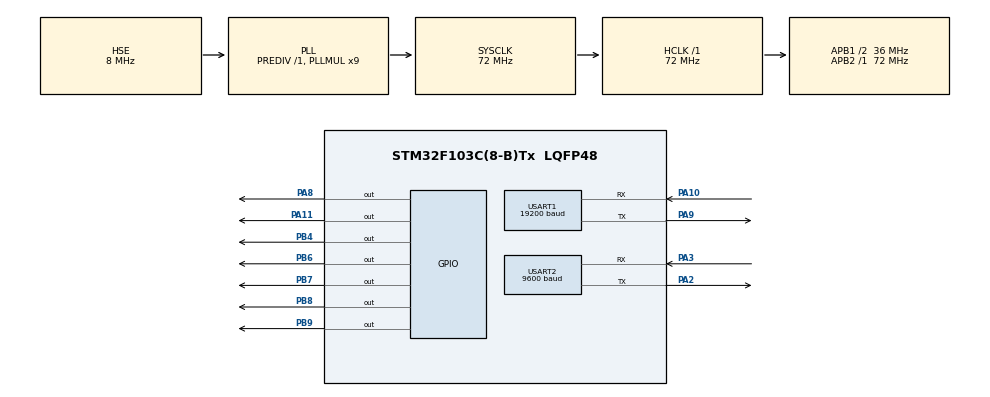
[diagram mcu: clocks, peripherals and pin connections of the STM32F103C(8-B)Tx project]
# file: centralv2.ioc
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Mcu.Family=STM32F1
Mcu.Name=STM32F103C(8-B)Tx
Mcu.Package=LQFP48
NVIC.PriorityGroup=NVIC_PRIORITYGROUP_4
NVIC.TIM3_IRQn=true\:0\:0\:false\:false\:true\:true\:true
NVIC.TIM4_IRQn=true\:0\:0\:false\:false\:true\:true\:true
NVIC.USART1_IRQn=true\:0\:0\:false\:false\:true\:true\:true
NVIC.USART2_IRQn=true\:0\:0\:false\:false\:true\:true\:true
PA10.Mode=Asynchronous
PA10.Signal=USART1_RX
PA11.GPIO_PuPd=GPIO_NOPULL
PA11.Signal=GPIO_Output
PA13.Mode=Serial_Wire
PA13.Signal=SYS_JTMS-SWDIO
PA14.Mode=Serial_Wire
PA14.Signal=SYS_JTCK-SWCLK
PA2.Mode=Asynchronous
PA2.Signal=USART2_TX
PA3.Mode=Asynchronous
PA3.Signal=USART2_RX
PA8.GPIO_PuPd=GPIO_NOPULL
PA8.GPIO_Speed=GPIO_SPEED_FREQ_MEDIUM
PA8.Signal=GPIO_Output
PA9.Mode=Asynchronous
PA9.Signal=USART1_TX
PB4.Signal=GPIO_Output
PB6.GPIO_PuPd=GPIO_PULLDOWN
PB6.GPIO_Speed=GPIO_SPEED_FREQ_LOW
PB6.PinState=GPIO_PIN_RESET
PB6.Signal=GPIO_Output
PB7.PinState=GPIO_PIN_SET
PB7.Signal=GPIO_Output
PB8.PinState=GPIO_PIN_SET
PB8.Signal=GPIO_Output
PB9.PinState=GPIO_PIN_SET
PB9.Signal=GPIO_Output
PD0-OSC_IN.Mode=HSE-External-Oscillator
PD0-OSC_IN.Signal=RCC_OSC_IN
PD1-OSC_OUT.Mode=HSE-External-Oscillator
PD1-OSC_OUT.Signal=RCC_OSC_OUT
ProjectManager.HeapSize=0x200
ProjectManager.StackSize=0x400
ProjectManager.TargetToolchain=STM32CubeIDE
RCC.AHBFreq_Value=72000000
RCC.APB1CLKDivider=RCC_HCLK_DIV2
RCC.APB1Freq_Value=36000000
RCC.APB1TimFreq_Value=72000000
RCC.APB2Freq_Value=72000000
RCC.APB2TimFreq_Value=72000000
RCC.HCLKFreq_Value=72000000
RCC.PLLMUL=RCC_PLL_MUL9
RCC.PLLSourceVirtual=RCC_PLLSOURCE_HSE
RCC.SYSCLKFreq_VALUE=72000000
RCC.SYSCLKSource=RCC_SYSCLKSOURCE_PLLCLK
RCC.USBFreq_Value=72000000
TIM3.Period=10
TIM3.Prescaler=1439
TIM4.Period=10
TIM4.Prescaler=1439
USART1.BaudRate=19200
USART1.Parity=PARITY_EVEN
USART1.VirtualMode=VM_ASYNC
USART2.BaudRate=9600
USART2.VirtualMode=VM_ASYNC
VP_TIM3_VS_ClockSourceINT.Mode=Internal
VP_TIM4_VS_ClockSourceINT.Mode=Internal
board=custom

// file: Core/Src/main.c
/* USER CODE BEGIN Header */
/**
  ******************************************************************************
  * @file           : main.c
  * @brief          : Main program body
  ******************************************************************************
  * @attention
  *
  * <h2><center>&copy; Copyright (c) 2020 STMicroelectronics.
  * All rights reserved.</center></h2>
  *
  * This software component is licensed by ST under BSD 3-Clause license,
  * the "License"; You may not use this file except in compliance with the
  * License. You may obtain a copy of the License at:
  *                        opensource.org/licenses/BSD-3-Clause
  *
  ******************************************************************************
  */
/* USER CODE END Header */

#include "main.h"

/* USER CODE BEGIN Includes */
#include <stdbool.h>
#include <string.h>
/* USER CODE END Includes */

/* USER CODE BEGIN PD */
uint16_t contador1s = 0;

/* USER CODE END PD */

TIM_HandleTypeDef htim3;
TIM_HandleTypeDef htim4;

UART_HandleTypeDef huart1;
UART_HandleTypeDef huart2;

/* USER CODE BEGIN PV */

//Different state of ATM machine
typedef enum
{
    No_Inhibicion_State,
    Inhibicion_State,
    Reset_State
} eSystemState;

/* USER CODE END PV */

void SystemClock_Config(void);
static void MX_GPIO_Init(void);
static void MX_USART1_UART_Init(void);
static void MX_TIM4_Init(void);
static void MX_TIM3_Init(void);
static void MX_USART2_UART_Init(void);

/* USER CODE BEGIN 0 */

uint8_t GSM_State = 0;
uint8_t GSM_Data_In [2] = "";
uint8_t GSM_Inited = 0;
uint32_t ticks;
uint8_t bTx_command = 1, bFin_GPRS=1;
char GSM_Data_out[] = "params='A','B','C','AG',0,0,0,0,0,0)\n\r";
uint8_t RSSI_value[3] = {0,0,0};
uint8_t estado_inhi[3] = {0,0,0};

/* USER CODE END 0 */

int main(void)
{

  /* MCU Configuration--------------------------------------------------------*/

  /* Reset of all peripherals, Initializes the Flash interface and the Systick. */
  HAL_Init();

  /* USER CODE BEGIN Init */
//  HAL_UART_IRQHandler(&huart1);
  /* USER CODE END Init */

  /* Configure the system clock */
  SystemClock_Config();

  /* Initialize all configured peripherals */
  MX_GPIO_Init();
  MX_USART1_UART_Init();
  MX_TIM4_Init();
  MX_TIM3_Init();
  MX_USART2_UART_Init();
  /* USER CODE BEGIN 2 */

  eSystemState NextState;
  uint8_t cRx = 0;
  uint8_t err = 0, eRx = 0;
  uint8_t i = 0;
  char in[3] = {0, 0, 0};
  char ch[2] = {0, 0};
  uint8_t salud_nodos[3] = {1, 1, 1};

  NextState = Reset_State;
  HAL_GPIO_WritePin(GPIOA, GPIO_PIN_8, 0); // DE - Comunicacion RS485 - Se coloca en bajo para estar en modo recepcion
  HAL_GPIO_WritePin(GPIOA, GPIO_PIN_11, 0); // RE - Comunicacion RS485 - Se coloca en bajo para escuchar todo el tiempoc

  GSM_Init();

  /* USER CODE END 2 */

  /* Infinite loop */
  /* USER CODE BEGIN WHILE */
  while (1)
  {

	  switch(NextState){
	  	  case No_Inhibicion_State:

	  		  HAL_Delay(100);

	  		  ch[1] = 0;
	  		  in[2] = 0;

			  if 	  (cRx == 0) ch[0] = 'A';
			  else if (cRx == 1) ch[0] = 'B';
			  else if (cRx == 2) ch[0] = 'C';

	  		  HAL_GPIO_WritePin(GPIOA, GPIO_PIN_8, 1);
	  		  HAL_UART_Transmit(&huart1, (uint8_t *)&ch, 2, 50);
	  		  HAL_UART_Receive(&huart1, (uint8_t *)in, 1, 10);
	  		  HAL_GPIO_WritePin(GPIOA, GPIO_PIN_8, 0);

	  		  in[2] = in[1] = in[0] = 0;
	  		  err = HAL_UART_Receive(&huart1, (uint8_t *)in, 3, 200);

	  		  if (cRx >= 2)
	  			  cRx = 0;

	  		  else cRx++;

	  		  if(in[2] == 1 || in[2] == 2){
	  			  NextState = Inhibicion_State;
	  			  cRx = 0;
	  		  }

	  		  break;

	  	  case Inhibicion_State:

	  		  HAL_Delay(200);

	  		  ch[1] = 1;
	  		  in[0] = in[1] = in[2] = 0;

	  		  if 	  (cRx == 0) ch[0] = 'A';
	  		  else if (cRx == 1) ch[0] = 'B';
	  		  else if (cRx == 2) ch[0] = 'C';

	  		  HAL_GPIO_WritePin(GPIOA, GPIO_PIN_8, 1);

	  		  HAL_UART_Transmit(&huart1, (uint8_t *)&ch, 2, 50);
	  		  HAL_UART_Receive(&huart1, (uint8_t *)in, 1, 10);

	  		  HAL_GPIO_WritePin(GPIOA, GPIO_PIN_8, 0);

			  in[2] = in[1] = in[0] = 0;

			  err = HAL_UART_Receive(&huart1, (uint8_t *)in, 3, 100);

			  if(cRx == 0 && in[0] == 'A'){
				  if (in[1] > 120 || in[1] < 10) RSSI_value[0] = 0;
				  else RSSI_value[0] = in[1];

				  if (in[2] > 2) estado_inhi[0] = 0;
				  else estado_inhi[0] = in[2];
				  eRx = 0;
				  cRx++;

			  }
			  else if(cRx == 1 && in[0] == 'B'){
				  if (in[1] > 120 || in[1] < 10) RSSI_value[1] = 0;
				  else RSSI_value[1] = in[1];

				  if (in[2] > 2) estado_inhi[1] = 0;
				  else estado_inhi[1] = in[2];
				  eRx = 0;
				  cRx++;
			  }
			  else if(cRx == 2 && in[0] == 'C'){
				  if (in[1] > 120 || in[1] < 10) RSSI_value[2] = 0;
				  else RSSI_value[2] = in[1];

				  if (in[2] > 2) estado_inhi[2] = 0;
				  else estado_inhi[2] = in[2];
				  eRx = 0;
				  cRx++;
			  }

			  if(err == 3 || (cRx == 0 && in[0] != 'A') || (cRx == 1 && in[0] != 'B') || (cRx == 2 && in[0] != 'C')){  //si la recepcion resulta en timeout
				  eRx++;
				  if(eRx >= 5) //y el nodo no responde en reiterados intentos se denota como con falla
					  salud_nodos[cRx] = 0;
			  }

			  if (eRx >= 5) {
				  cRx++;
				  eRx = 0;
			  }

			  if (cRx == 3){
				  if(estado_inhi[0] || estado_inhi[1] || estado_inhi[2]){ //desata alarma visual y sonora en la central
					  if(bFin_GPRS==1){
						  HAL_TIM_Base_Start_IT(&htim4);
						  GSM_Send();
					  }
				  }

				  salud_nodos[0] = salud_nodos[1] = salud_nodos[2] = 1;
				  NextState = Reset_State;

			  }
			  break;

	  	  case Reset_State:

	  		in[2] = in[1] = in[0] = 0;

	  		for(i = 0; i < 5; i++){

	  			  HAL_Delay(200);

	  			  ch[0] = 'A';
				  ch[1] = 2;

				  HAL_GPIO_WritePin(GPIOA, GPIO_PIN_8, 1);

				  HAL_UART_Transmit(&huart1, (uint8_t *)&ch, 2, 50);
				  HAL_UART_Receive(&huart1, (uint8_t *)in, 1, 10);

				  HAL_GPIO_WritePin(GPIOA, GPIO_PIN_8, 0);

	  		  }

	  		  estado_inhi[0] = estado_inhi[1] = estado_inhi[2] = 0;
	  		  RSSI_value[0] = RSSI_value[1] = RSSI_value[2] = 0;
	  		  cRx = 0;

			  NextState = No_Inhibicion_State;
			  break;

	  	  default:
	  		NextState = Reset_State;

	  }

    /* USER CODE END WHILE */

  }
}

void SystemClock_Config(void)
{
  RCC_OscInitTypeDef RCC_OscInitStruct = {0};
  RCC_ClkInitTypeDef RCC_ClkInitStruct = {0};

  /** Initializes the CPU, AHB and APB busses clocks
  */
  RCC_OscInitStruct.OscillatorType = RCC_OSCILLATORTYPE_HSE;
  RCC_OscInitStruct.HSEState = RCC_HSE_ON;
  RCC_OscInitStruct.HSEPredivValue = RCC_HSE_PREDIV_DIV1;
  RCC_OscInitStruct.HSIState = RCC_HSI_ON;
  RCC_OscInitStruct.PLL.PLLState = RCC_PLL_ON;
  RCC_OscInitStruct.PLL.PLLSource = RCC_PLLSOURCE_HSE;
  RCC_OscInitStruct.PLL.PLLMUL = RCC_PLL_MUL9;
  if (HAL_RCC_OscConfig(&RCC_OscInitStruct) != HAL_OK)
  {
    Error_Handler();
  }
  /** Initializes the CPU, AHB and APB busses clocks
  */
  RCC_ClkInitStruct.ClockType = RCC_CLOCKTYPE_HCLK|RCC_CLOCKTYPE_SYSCLK
                              |RCC_CLOCKTYPE_PCLK1|RCC_CLOCKTYPE_PCLK2;
  RCC_ClkInitStruct.SYSCLKSource = RCC_SYSCLKSOURCE_PLLCLK;
  RCC_ClkInitStruct.AHBCLKDivider = RCC_SYSCLK_DIV1;
  RCC_ClkInitStruct.APB1CLKDivider = RCC_HCLK_DIV2;
  RCC_ClkInitStruct.APB2CLKDivider = RCC_HCLK_DIV1;

  if (HAL_RCC_ClockConfig(&RCC_ClkInitStruct, FLASH_LATENCY_2) != HAL_OK)
  {
    Error_Handler();
  }
}

static void MX_TIM3_Init(void)
{

  TIM_ClockConfigTypeDef sClockSourceConfig = {0};
  TIM_MasterConfigTypeDef sMasterConfig = {0};

  htim3.Instance = TIM3;
  htim3.Init.Prescaler = 1439;
  htim3.Init.CounterMode = TIM_COUNTERMODE_UP;
  htim3.Init.Period = 10;
  htim3.Init.ClockDivision = TIM_CLOCKDIVISION_DIV1;
  htim3.Init.AutoReloadPreload = TIM_AUTORELOAD_PRELOAD_DISABLE;
  if (HAL_TIM_Base_Init(&htim3) != HAL_OK)
  {
    Error_Handler();
  }
  sClockSourceConfig.ClockSource = TIM_CLOCKSOURCE_INTERNAL;
  if (HAL_TIM_ConfigClockSource(&htim3, &sClockSourceConfig) != HAL_OK)
  {
    Error_Handler();
  }
  sMasterConfig.MasterOutputTrigger = TIM_TRGO_RESET;
  sMasterConfig.MasterSlaveMode = TIM_MASTERSLAVEMODE_DISABLE;
  if (HAL_TIMEx_MasterConfigSynchronization(&htim3, &sMasterConfig) != HAL_OK)
  {
    Error_Handler();
  }

}

static void MX_TIM4_Init(void)
{

  TIM_ClockConfigTypeDef sClockSourceConfig = {0};
  TIM_MasterConfigTypeDef sMasterConfig = {0};

  htim4.Instance = TIM4;
  htim4.Init.Prescaler = 1439;
  htim4.Init.CounterMode = TIM_COUNTERMODE_UP;
  htim4.Init.Period = 10;
  htim4.Init.ClockDivision = TIM_CLOCKDIVISION_DIV1;
  htim4.Init.AutoReloadPreload = TIM_AUTORELOAD_PRELOAD_DISABLE;
  if (HAL_TIM_Base_Init(&htim4) != HAL_OK)
  {
    Error_Handler();
  }
  sClockSourceConfig.ClockSource = TIM_CLOCKSOURCE_INTERNAL;
  if (HAL_TIM_ConfigClockSource(&htim4, &sClockSourceConfig) != HAL_OK)
  {
    Error_Handler();
  }
  sMasterConfig.MasterOutputTrigger = TIM_TRGO_RESET;
  sMasterConfig.MasterSlaveMode = TIM_MASTERSLAVEMODE_DISABLE;
  if (HAL_TIMEx_MasterConfigSynchronization(&htim4, &sMasterConfig) != HAL_OK)
  {
    Error_Handler();
  }

}

static void MX_USART1_UART_Init(void)
{

  huart1.Instance = USART1;
  huart1.Init.BaudRate = 19200;
  huart1.Init.WordLength = UART_WORDLENGTH_8B;
  huart1.Init.StopBits = UART_STOPBITS_1;
  huart1.Init.Parity = UART_PARITY_EVEN;
  huart1.Init.Mode = UART_MODE_TX_RX;
  huart1.Init.HwFlowCtl = UART_HWCONTROL_NONE;
  huart1.Init.OverSampling = UART_OVERSAMPLING_16;
  if (HAL_UART_Init(&huart1) != HAL_OK)
  {
    Error_Handler();
  }

}

static void MX_USART2_UART_Init(void)
{

  huart2.Instance = USART2;
  huart2.Init.BaudRate = 9600;
  huart2.Init.WordLength = UART_WORDLENGTH_8B;
  huart2.Init.StopBits = UART_STOPBITS_1;
  huart2.Init.Parity = UART_PARITY_NONE;
  huart2.Init.Mode = UART_MODE_TX_RX;
  huart2.Init.HwFlowCtl = UART_HWCONTROL_NONE;
  huart2.Init.OverSampling = UART_OVERSAMPLING_16;
  if (HAL_UART_Init(&huart2) != HAL_OK)
  {
    Error_Handler();
  }

}

static void MX_GPIO_Init(void)
{
  GPIO_InitTypeDef GPIO_InitStruct = {0};

  /* GPIO Ports Clock Enable */
  __HAL_RCC_GPIOD_CLK_ENABLE();
  __HAL_RCC_GPIOA_CLK_ENABLE();
  __HAL_RCC_GPIOB_CLK_ENABLE();

  /*Configure GPIO pin Output Level */
  HAL_GPIO_WritePin(GPIOA, GPIO_PIN_8|GPIO_PIN_11, GPIO_PIN_RESET);

  /*Configure GPIO pin Output Level */
  HAL_GPIO_WritePin(GPIOB, GPIO_PIN_4|GPIO_PIN_6, GPIO_PIN_RESET);

  /*Configure GPIO pin Output Level */
  HAL_GPIO_WritePin(GPIOB, GPIO_PIN_7|GPIO_PIN_8|GPIO_PIN_9, GPIO_PIN_SET);

  /*Configure GPIO pin : PA8 */
  GPIO_InitStruct.Pin = GPIO_PIN_8;
  GPIO_InitStruct.Mode = GPIO_MODE_OUTPUT_PP;
  GPIO_InitStruct.Pull = GPIO_NOPULL;
  GPIO_InitStruct.Speed = GPIO_SPEED_FREQ_MEDIUM;
  HAL_GPIO_Init(GPIOA, &GPIO_InitStruct);

  /*Configure GPIO pin : PA11 */
  GPIO_InitStruct.Pin = GPIO_PIN_11;
  GPIO_InitStruct.Mode = GPIO_MODE_OUTPUT_PP;
  GPIO_InitStruct.Pull = GPIO_NOPULL;
  GPIO_InitStruct.Speed = GPIO_SPEED_FREQ_LOW;
  HAL_GPIO_Init(GPIOA, &GPIO_InitStruct);

  /*Configure GPIO pins : PB4 PB7 PB8 PB9 */
  GPIO_InitStruct.Pin = GPIO_PIN_4|GPIO_PIN_7|GPIO_PIN_8|GPIO_PIN_9;
  GPIO_InitStruct.Mode = GPIO_MODE_OUTPUT_PP;
  GPIO_InitStruct.Pull = GPIO_NOPULL;
  GPIO_InitStruct.Speed = GPIO_SPEED_FREQ_LOW;
  HAL_GPIO_Init(GPIOB, &GPIO_InitStruct);

  /*Configure GPIO pin : PB6 */
  GPIO_InitStruct.Pin = GPIO_PIN_6;
  GPIO_InitStruct.Mode = GPIO_MODE_OUTPUT_PP;
  GPIO_InitStruct.Pull = GPIO_PULLDOWN;
  GPIO_InitStruct.Speed = GPIO_SPEED_FREQ_LOW;
  HAL_GPIO_Init(GPIOB, &GPIO_InitStruct);

}

/* USER CODE BEGIN 4 */

void GSM_Init(void){
	char in[20]="00000000000000000000";

	GSM_State = 0;

}

void HAL_UART_TxCpltCallback(UART_HandleTypeDef *huart){

	if(huart->Instance == USART2){
		GSM_State++;
		ticks = HAL_GetTick();
		bTx_command = 1;
	}

}

void GSM_Send(void){
	if(bFin_GPRS==1){
		bFin_GPRS=0;
		HAL_Delay(500);
		HAL_UART_Transmit(&huart2, (uint8_t*)"AT\n\r", strlen("AT\n\r"), HAL_MAX_DELAY);
		HAL_Delay(4000);
		HAL_UART_Transmit(&huart2, (uint8_t*)"AT+SAPBR=3,1,Contype,GPRS\n\r", strlen("AT+SAPBR=3,1,Contype,GPRS\n\r"), HAL_MAX_DELAY);
		HAL_Delay(300);
		HAL_UART_Transmit(&huart2, (uint8_t*)"AT+SAPBR=3,1,APN,datos.personal.com\n\r", strlen("AT+SAPBR=3,1,APN,datos.personal.com\n\r"),HAL_MAX_DELAY);
		HAL_Delay(300);
		HAL_UART_Transmit(&huart2, (uint8_t*)"AT+SAPBR=3,1,PWD,adgj\n\r", strlen("AT+SAPBR=3,1,PWD,adgj\n\r"),HAL_MAX_DELAY);
		HAL_Delay(300);
		GSM_State = 0;

		GSM_Data_out[24] = (char) RSSI_value[0];
		GSM_Data_out[26] = (char) RSSI_value[1];
		GSM_Data_out[28] = (char) RSSI_value[2];

		GSM_Data_out[30] = (char) estado_inhi[0];
		GSM_Data_out[32] = (char) estado_inhi[1];
		GSM_Data_out[34] = (char) estado_inhi[2];

		ticks = HAL_GetTick();
		HAL_TIM_Base_Start_IT(&htim3);
	}
}

void HAL_TIM_PeriodElapsedCallback(TIM_HandleTypeDef *htim){

	if(htim->Instance == TIM4){ //chequea que la interrupción sea la del timer adecuado

		contador1s++;
		HAL_GPIO_TogglePin(GPIOB, GPIO_PIN_6);
		HAL_GPIO_WritePin(GPIOB, GPIO_PIN_4, 1);
		if(contador1s == 5000) {
			HAL_GPIO_WritePin(GPIOB, GPIO_PIN_4, 0);
			HAL_GPIO_WritePin(GPIOB, GPIO_PIN_6, 0);
			contador1s = 0;
			HAL_TIM_Base_Stop_IT(&htim4);
		}

	}

	if(htim->Instance == TIM3){ //chequea que la interrupción sea la del timer adecuado

		if(GSM_State == 0 && bTx_command == 1){
			bTx_command = 0;
			HAL_UART_Transmit_IT(&huart2, (uint8_t*)"AT+SAPBR =1,1\n\r", strlen("AT+SAPBR =1,1\n\r"));
		}

		if(GSM_State == 1 && ((HAL_GetTick() - ticks) >= (1000 + (uint32_t)(uwTickFreq))) && bTx_command == 1){
			bTx_command = 0;
			HAL_UART_Transmit_IT(&huart2, (uint8_t*)"AT+SAPBR=2,1\n\r", strlen("AT+SAPBR=2,1\n\r"));
		}
		if(GSM_State == 2 && ((HAL_GetTick() - ticks) >= (2000 + (uint32_t)(uwTickFreq))) && bTx_command == 1){
			bTx_command = 0;
			HAL_UART_Transmit_IT(&huart2, (uint8_t*)"AT+HTTPINIT\n\r", strlen("AT+HTTPINIT\n\r"));
		}
		if(GSM_State == 3 && ((HAL_GetTick() - ticks) >= (1000 + (uint32_t)(uwTickFreq))) && bTx_command == 1){
			bTx_command = 0;
			HAL_UART_Transmit_IT(&huart2, (uint8_t*)"AT+HTTPPARA=CID,1\n\r", strlen("AT+HTTPPARA=CID,1\n\r"));
		}
		if(GSM_State == 4 && ((HAL_GetTick() - ticks) >= (1000 + (uint32_t)(uwTickFreq))) && bTx_command == 1){
			bTx_command = 0;
			HAL_UART_Transmit_IT(&huart2, (uint8_t*)"AT+HTTPPARA=URL,http://jammer-detector.ml/cargar_info.php\n\r", strlen("AT+HTTPPARA=URL,http://jammer-detector.ml/cargar_info.php\n\r"));
		}
		if(GSM_State == 5 && ((HAL_GetTick() - ticks) >= (1000 + (uint32_t)(uwTickFreq))) && bTx_command == 1){
			bTx_command = 0;
			HAL_UART_Transmit_IT(&huart2, (uint8_t*)"AT\n\r", strlen("AT\n\r"));
		}
		if(GSM_State == 6 && ((HAL_GetTick() - ticks) >= (1000 + (uint32_t)(uwTickFreq))) && bTx_command == 1){
			bTx_command = 0;
			HAL_UART_Transmit_IT(&huart2, (uint8_t*)"AT+HTTPPARA=CONTENT,application/x-www-form-urlencoded\n\r", strlen("AT+HTTPPARA=CONTENT,application/x-www-form-urlencoded\n\r"));
		}
		if(GSM_State == 7 && ((HAL_GetTick() - ticks) >= (1000 + (uint32_t)(uwTickFreq))) && bTx_command == 1){
			bTx_command = 0;
			HAL_UART_Transmit_IT(&huart2, (uint8_t*)"AT+HTTPDATA=192,10000\n\r", strlen("AT+HTTPDATA=192,10000\n\r"));
		}
		//GSM_Data_out = "params='A','B','C','UTN',98,97,96,0,1,2)";

		if(GSM_State == 8 && ((HAL_GetTick() - ticks) >= (1000 + (uint32_t)(uwTickFreq))) && bTx_command == 1){
			bTx_command = 0;
			HAL_UART_Transmit_IT(&huart2, (uint8_t*) GSM_Data_out, strlen(GSM_Data_out));
		}
		if(GSM_State == 9 && ((HAL_GetTick() - ticks) >= (10000 + (uint32_t)(uwTickFreq))) && bTx_command == 1){
			bTx_command = 0;
			HAL_UART_Transmit_IT(&huart2, (uint8_t*)"AT+HTTPACTION=1\n\r", strlen("AT+HTTPACTION=1\n\r"));
		}
		if(GSM_State == 10 && ((HAL_GetTick() - ticks) >= (5000 + (uint32_t)(uwTickFreq))) && bTx_command == 1){
			bTx_command = 0;
			HAL_UART_Transmit_IT(&huart2, (uint8_t*)"AT+HTTPREAD\n\r", strlen("AT+HTTPREAD\n\r"));
		}
		if(GSM_State == 11 && ((HAL_GetTick() - ticks) >= (1000 + (uint32_t)(uwTickFreq))) && bTx_command == 1){
			bTx_command = 0;
			HAL_UART_Transmit_IT(&huart2, (uint8_t*)"AT+HTTPTERM\n\r", strlen("AT+HTTPTERM\n\r"));
			GSM_State = 0;
			bFin_GPRS=1;
			HAL_TIM_Base_Stop_IT(&htim3);
		}

		}

}

/* USER CODE END 4 */

void Error_Handler(void)
{
}

/************************ (C) COPYRIGHT STMicroelectronics *****END OF FILE****/
